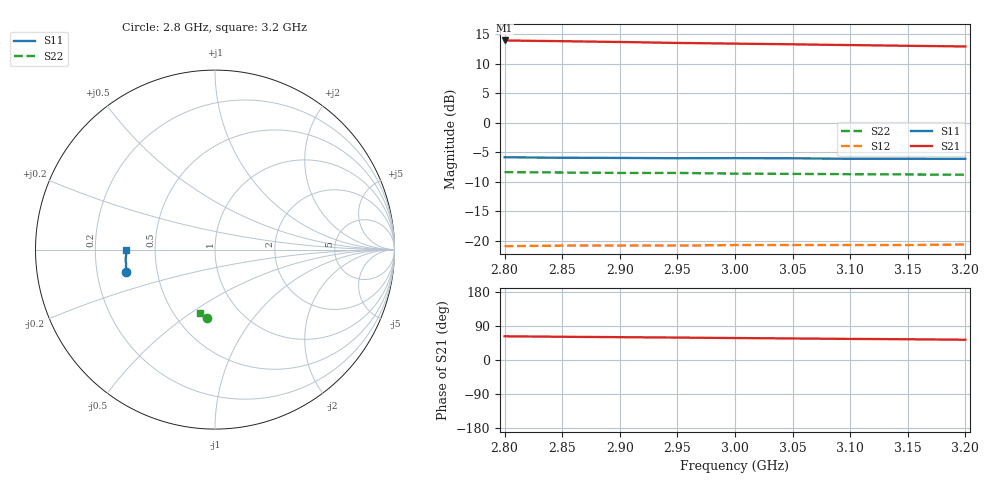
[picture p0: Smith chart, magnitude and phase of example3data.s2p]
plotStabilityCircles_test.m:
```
%%%%~~~~~~~~~~~~~~~~~~~~~~~~~~~~~~~~~~~~~~~~~~~~~~~~~~~~~~~~~~
%%%% Test functionality of script
%%%%
%%%% curtis
%%%% 
%%%% Last Edited: 8/19/12
%%%% Octave tested: 9/1/13
%%%% Matlab tested: 
%%%%~~~~~~~~~~~~~~~~~~~~~~~~~~~~~~~~~~~~~~~~~~~~~~~~~~~~~~~~~~
function plotStabilityCircles_test()

%---------------------------------------------------------
% Plot stability circles of all frequencies in an s2p file
%
folder = './';
filename = 'example3data.s2p';
plotStabilityCircles(folder,filename)

% Print explaination and hold
fprintf('\n');
fprintf(['............................................................\n']);
fprintf(['...These are the stability circles of all frequencies \n']);
fprintf(['...in the file [ ',filename,' ]\n']);
fprintf(['...There should be 9 red on the left and 9 blue near the top\n']);
user_input = input('Press Enter to continue');
fprintf(['###################--END--######################\n\n']);

%---------------------------------------------------------
% Plot stability circles of specific s-parameters
%
s = [ptor(0.69,-78),ptor(0.033,41.4);ptor(5.67,123),ptor(0.84,-25)];
plotStabilityCircles(s)

% Print explaination and hold
fprintf('\n');
fprintf(['............................................................\n']);
fprintf(['...These are the stability circles of specific s-parameters \n']);
fprintf(['...There should be 1 red on the top-left and 1 blue near the top-right\n']);
user_input = input('Press Enter to continue');
fprintf(['###################--END--######################\n\n']);


%---------------------------------------------------------
% Plot stability circles from an s2p file 
% for a specified frequency range
%
folder = './';
filename = 'example3data.s2p';
f_min = 3.0;
f_max = 3.1;
plotStabilityCircles(folder,filename,f_min,f_max)

% Print explaination and hold
fprintf('\n');
fprintf(['............................................................\n']);
fprintf(['...These are the stability circles of s-parameters\n']);
fprintf(['...in the file [ ',filename,' ]\n']);
fprintf(['...for frequencies from [ ',num2str(f_min),' ] to [ ',num2str(f_max),' ]\n']);
fprintf(['...There should be 3 red on the left and 3 blue near the top\n']);
fprintf(['###################--END--######################\n\n']);

end%function
```
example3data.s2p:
! FILENAME:  example2data.S2P  VERSION: 14.1
! PART NUMBER:  Test123  DATE: 10/03
! BIAS CONDITIONS: VC = 1.000 V, IC = 5.000 MA
# GHZ S MA R 50
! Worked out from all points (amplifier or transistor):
!   9 points, 2.8 GHz to 3.2 GHz, reference 50 ohm
!   highest |S21| = 14.0 dB at 2.8 GHz (marker M1)
!   |S21| within 3 dB of that: start of sweep to end of sweep
!   unconditionally stable (mu >= 1): nowhere
!   at 2.85 GHz: K = 0.75, MSG = 17.3 dB, |S12| = -20.8 dB
!   at 3 GHz: K = 0.79, MSG = 17.1 dB, |S12| = -20.7 dB
!   at 3.2 GHz: K = 0.83, MSG = 16.8 dB, |S12| = -20.6 dB
2.8  0.51 -166.0  4.992 62.5  0.09 13.3  0.382 -96.8
2.85  0.506 -167.9  4.92 61.4  0.091 13.0  0.379 -97.9
2.9  0.504 -169.7  4.846 60.2  0.091 12.7  0.376 -98.7
2.95  0.501 -171.2  4.756 59.2  0.091 12.1  0.376 -99.4
3  0.502 -172.6  4.693 57.9  0.092 11.5  0.371 -100.5
3.05  0.5 -174.4  4.631 56.8  0.092 11.2  0.369 -101.3
3.1  0.496 -176.5  4.561 55.7  0.092 10.8  0.367 -101.8
3.15  0.496 -177.7  4.499 54.7  0.092 10.4  0.365 -102.8
3.2  0.495 -179.5  4.438 53.5  0.093 9.9  0.363 -103.5
